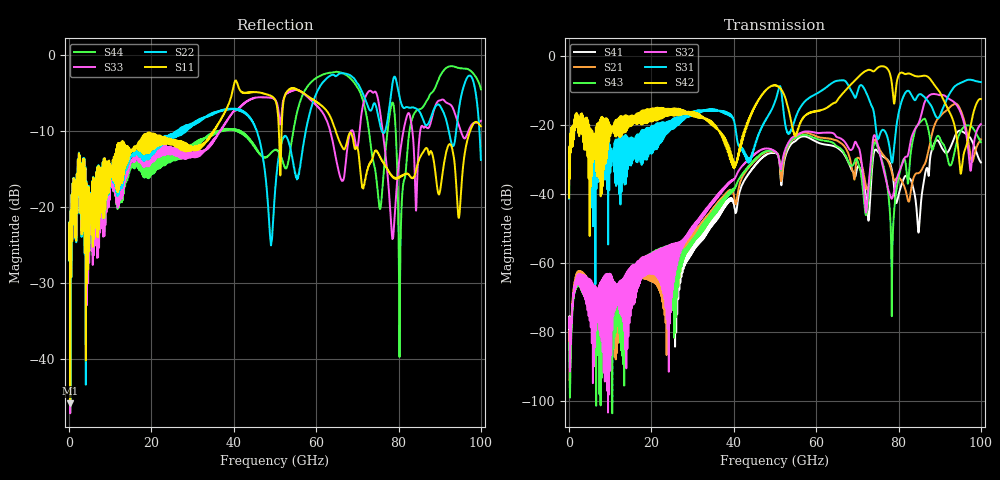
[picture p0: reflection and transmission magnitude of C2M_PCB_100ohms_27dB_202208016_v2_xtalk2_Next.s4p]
! Info: Touchstone file created by Circ.  Input file=Intel_C2M_200G_11p5in_202208016_staggered.circ
# Hz S RI R 50
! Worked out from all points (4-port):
!   10000 points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, 10 MHz to 100 GHz, reference 50 ohm
!   strongest paths, dB at 10 MHz, 25.01 GHz, 50.01 GHz, 75.01 GHz, 100 GHz:
!     S42: -41.1, -15.6, -8.6, -3.4, -12.6
!     S31: -41.4, -18.9, -13.4, -24.2, -7.7
!     S32: -78.8, -63.8, -27.7, -26.1, -19.8
!     S43: -83.1, -63.1, -27.7, -26.8, -25.0
!     S21: -79.7, -62.3, -27.8, -26.0, -24.2
!     S41: -82.1, -64.3, -28.1, -27.8, -30.9
!   lowest |S11| = -45.8 dB at 280 MHz (marker M1), VSWR 1.01, Z = 50.1 + j0.511 ohm
!   |S11| at or under -10 dB: start of sweep to 35.03 GHz; 50.96 GHz to 51.6 GHz (643.7 MHz wide, 1.26 % of centre); 64.75 GHz to 97.38 GHz (32.63 GHz wide, 40.2 % of centre)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
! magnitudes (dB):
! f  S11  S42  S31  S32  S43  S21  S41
! 10 MHz  -26.9  -41.1  -41.4  -78.8  -83.1  -79.7  -82.1
! 280 MHz  -45.8  -23.4  -23.5  -85.6  -92.1  -88.0  -86.1
! 56.23 GHz  -4.8  -19.4  -14.8  -22.4  -23.1  -22.5  -23.6
! 74.55 GHz  -12.5  -3.9  -21.3  -23.9  -25.4  -24.8  -27.2
! 78.41 GHz  -15.9  -8.3  -30.9  -41.3  -65.9  -34.0  -33.3
! 84.97 GHz  -13.8  -6.0  -11.2  -19.3  -19.6  -34.0  -50.1
! 100 GHz  -9.4  -12.6  -7.7  -19.8  -25.0  -24.2  -30.9
